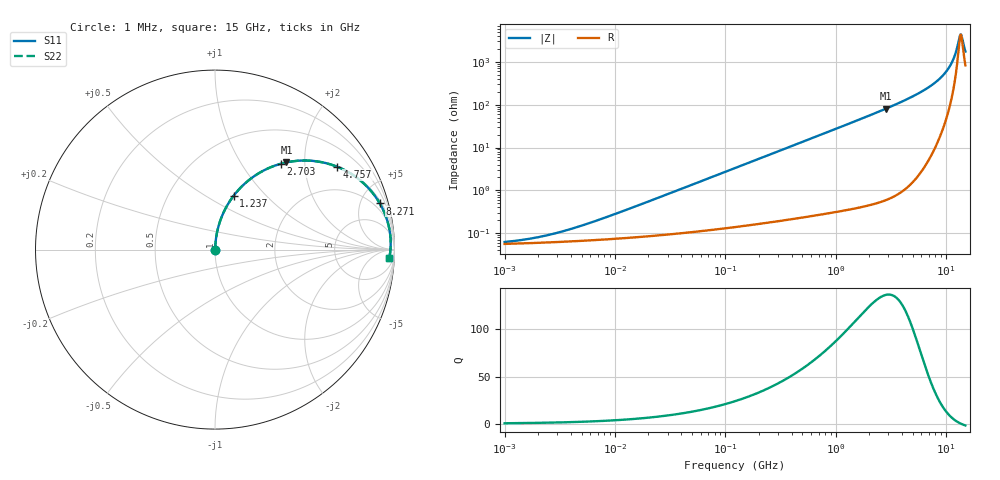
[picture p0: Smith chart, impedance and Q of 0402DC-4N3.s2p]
# MHz  S  MA  R  50
!Freq  MagS11  AngS11  MagS21  AngS21  MagS12  AngS12  MagS22  AngS22
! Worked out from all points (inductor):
!   801 points, 1 MHz to 15 GHz, reference 50 ohm
!   read as one part in series: L = 4.3 nH near 7.915 MHz
!   highest Q = 137 at 2.87 GHz (marker M1), where L = 4.5 nH
!   self-resonance near 13.54 GHz
!   S11 on the Smith chart (normalised r, x): 1 MHz: 1.00, +0.00; 1.237 GHz: 1.01, +0.67; 2.703 GHz: 1.01, +1.52; 4.757 GHz: 1.03, +2.93; 8.271 GHz: 1.24, +7.07; 15 GHz: 18, -31
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1  0.0006232 25.7  0.9994 -0.0  0.9994 -0.0  0.0006232 25.7
2.211801  0.0008477 44.8  0.9994 -0.0  0.9994 -0.0  0.0008477 44.8
5.011168  0.001507 63.8  0.9993 -0.1  0.9993 -0.1  0.001507 63.8
24.81158  0.006756 82.1  0.9991 -0.4  0.9991 -0.4  0.006756 82.1
122.8485  0.03316 85.7  0.9981 -1.9  0.9981 -1.9  0.03316 85.7
608.2547  0.1621 79.8  0.9843 -9.3  0.9843 -9.3  0.1621 79.8
1236.709  0.3183 70.9  0.9447 -18.6  0.9447 -18.6  0.3183 70.9
1839.249  0.4501 62.8  0.8892 -26.7  0.8892 -26.7  0.4501 62.8
2702.652  0.603 52.5  0.7933 -37.1  0.7933 -37.1  0.603 52.5
2870.168  0.6279 50.7  0.7737 -38.9  0.7737 -38.9  0.6279 50.7
3048.066  0.6527 48.8  0.7528 -40.7  0.7528 -40.7  0.6527 48.8
4756.539  0.8221 34.2  0.5617 -55.3  0.5617 -55.3  0.8221 34.2
6425.053  0.9072 24.0  0.4064 -65.1  0.4064 -65.1  0.9072 24.0
8271.202  0.9537 15.6  0.2697 -72.4  0.2697 -72.4  0.9537 15.6
9788.059  0.9718 10.3  0.1785 -75.8  0.1785 -75.8  0.9718 10.3
11039.03  0.9784 6.5  0.1142 -75.9  0.1142 -75.9  0.9784 6.5
12008.67  0.98 3.9  0.07038 -71.5  0.07038 -71.5  0.98 3.9
13063.48  0.9791 1.3  0.0312 -47.3  0.0312 -47.3  0.9791 1.3
13381.53  0.9784 0.6  0.02407 -25.8  0.02407 -25.8  0.9784 0.6
13707.32  0.9775 -0.1  0.02262 4.9  0.02262 4.9  0.9775 -0.1
14041.04  0.9763 -0.8  0.02772 31.0  0.02772 31.0  0.9763 -0.8
15000  0.9722 -2.8  0.05588 58.8  0.05588 58.8  0.9722 -2.8
